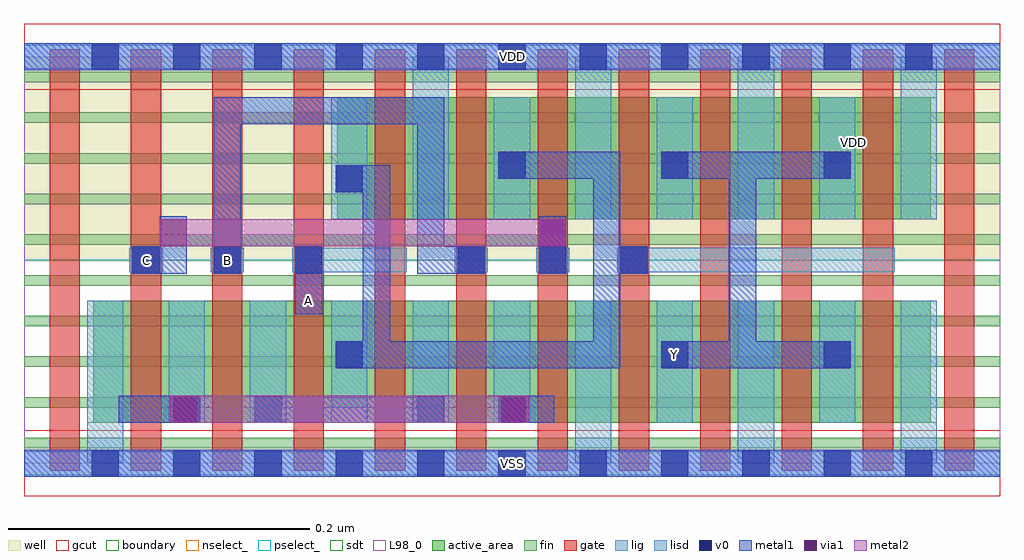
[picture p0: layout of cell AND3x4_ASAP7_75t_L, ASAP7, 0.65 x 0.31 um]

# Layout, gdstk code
import gdstk
lib = gdstk.Library(unit=1e-6, precision=2.5e-10)
def R(c, l, rs):  # rectangles x0, y0, x1, y1
    for r in rs: c.add(gdstk.rectangle(r[:2], r[2:], *l))
def A(c, l, x, y, w, h, nx, ny, dx, dy):  # array of equal rectangles
    R(c, l, [(x+i*dx, y+j*dy, x+i*dx+w, y+j*dy+h) for i in range(nx) for j in range(ny)])
def P(c, l, *ps):  # polygons
    for p in ps: c.add(gdstk.Polygon(p, *l))
well = (1, 0)
fin = (2, 0)
gate = (7, 0)
gcut = (10, 0)
active_area = (11, 0)
nselect_ = (12, 0)
pselect_ = (13, 0)
lig = (16, 0)
lisd = (17, 0)
v0 = (18, 0)
metal1 = (19, 0)
metal2 = (20, 0)
via1 = (21, 0)
sdt = (88, 0)
L98_0 = (98, 0)
boundary = (100, 0)

and3x4_asap7_75t_l = lib.new_cell('AND3x4_ASAP7_75t_L')
R(and3x4_asap7_75t_l, well, [(0,0.135,0.648,0.27)])
A(and3x4_asap7_75t_l, fin, 0, 0.01, 0.648, 0.007, 1, 10, 0, 0.027)
A(and3x4_asap7_75t_l, gate, 0.017, -0.005, 0.02, 0.28, 12, 1, 0.054, 0)
R(and3x4_asap7_75t_l, gcut, [(0,-0.022,0.648,0.022), (0,0.248,0.648,0.292)])
R(and3x4_asap7_75t_l, active_area, [(0.046,0.027,0.602,0.108), (0.208,0.162,0.602,0.243)])
R(and3x4_asap7_75t_l, nselect_, [(0,0,0.648,0.135)])
R(and3x4_asap7_75t_l, pselect_, [(0,0.135,0.648,0.27)])
R(and3x4_asap7_75t_l, lig, [(0,-0.008,0.648,0.008), (0.07,0.127,0.092,0.143), (0.124,0.127,0.146,0.143), (0.178,0.127,0.254,0.143), (0.286,0.127,0.308,0.143), (0.34,0.127,0.362,0.143), (0.394,0.127,0.578,0.143), (0,0.262,0.648,0.278)])
A(and3x4_asap7_75t_l, lisd, 0.366, 0, 0.024, 0.108, 3, 1, 0.108, 0)
A(and3x4_asap7_75t_l, lisd, 0.096, 0.027, 0.024, 0.081, 5, 1, 0.054, 0)
A(and3x4_asap7_75t_l, lisd, 0.204, 0.162, 0.024, 0.081, 4, 1, 0.108, 0)
A(and3x4_asap7_75t_l, lisd, 0.258, 0.162, 0.024, 0.108, 4, 1, 0.108, 0)
R(and3x4_asap7_75t_l, lisd, [(0.042,0,0.066,0.108), (0.42,0.027,0.444,0.108), (0.528,0.027,0.552,0.108)])
A(and3x4_asap7_75t_l, v0, 0.045, -0.009, 0.018, 0.018, 11, 2, 0.054, 0.27)
A(and3x4_asap7_75t_l, v0, 0.072, 0.126, 0.018, 0.018, 3, 1, 0.054, 0)
A(and3x4_asap7_75t_l, v0, 0.288, 0.126, 0.018, 0.018, 3, 1, 0.054, 0)
A(and3x4_asap7_75t_l, v0, 0.315, 0.189, 0.018, 0.018, 3, 1, 0.108, 0)
R(and3x4_asap7_75t_l, v0, [(0.099,0.027,0.117,0.045), (0.153,0.027,0.171,0.045), (0.261,0.027,0.279,0.045), (0.315,0.027,0.333,0.045), (0.207,0.063,0.225,0.081), (0.423,0.063,0.441,0.081), (0.531,0.063,0.549,0.081), (0.207,0.18,0.225,0.198)])
R(and3x4_asap7_75t_l, metal1, [(0,-0.009,0.648,0.009), (0.063,0.027,0.117,0.045), (0.153,0.027,0.279,0.045), (0.315,0.027,0.352,0.045), (0.18,0.099,0.198,0.144), (0.342,0.126,0.36,0.164), (0,0.261,0.648,0.279)])
P(and3x4_asap7_75t_l, metal1, [(0.423,0.063),(0.423,0.081),(0.468,0.081),(0.468,0.189),(0.423,0.189),(0.423,0.207),(0.549,0.207),(0.549,0.189),(0.486,0.189),(0.486,0.081),(0.549,0.081),(0.549,0.063)],
  [(0.126,0.126),(0.126,0.243),(0.279,0.243),(0.279,0.144),(0.306,0.144),(0.306,0.126),(0.261,0.126),(0.261,0.225),(0.144,0.225),(0.144,0.126)],
  [(0.207,0.063),(0.207,0.081),(0.225,0.081),(0.225,0.18),(0.207,0.18),(0.207,0.198),(0.243,0.198),(0.243,0.081),(0.378,0.081),(0.378,0.189),(0.315,0.189),(0.315,0.207),(0.396,0.207),(0.396,0.144),(0.414,0.144),(0.414,0.126),(0.396,0.126),(0.396,0.063)],
  [(0.072,0.126),(0.072,0.144),(0.09,0.144),(0.09,0.164),(0.108,0.164),(0.108,0.126)])
R(and3x4_asap7_75t_l, metal2, [(0.097,0.027,0.335,0.045), (0.09,0.144,0.36,0.162)])
R(and3x4_asap7_75t_l, via1, [(0.097,0.027,0.115,0.045), (0.317,0.027,0.335,0.045), (0.09,0.144,0.108,0.162), (0.342,0.144,0.36,0.162)])
A(and3x4_asap7_75t_l, sdt, 0.042, 0.027, 0.024, 0.081, 11, 1, 0.054, 0)
A(and3x4_asap7_75t_l, sdt, 0.204, 0.162, 0.024, 0.081, 8, 1, 0.054, 0)
R(and3x4_asap7_75t_l, L98_0, [(0,0,0.648,0.27)])
R(and3x4_asap7_75t_l, boundary, [(0,0,0.648,0.27)])
and3x4_asap7_75t_l.add(gdstk.Label('Y', (0.432,0.072), layer=19, texttype=251))
and3x4_asap7_75t_l.add(gdstk.Label('B', (0.135,0.135), layer=19, texttype=251))
and3x4_asap7_75t_l.add(gdstk.Label('C', (0.081,0.135), layer=19, texttype=251))
and3x4_asap7_75t_l.add(gdstk.Label('A', (0.189,0.108), layer=19, texttype=251))
and3x4_asap7_75t_l.add(gdstk.Label('VSS', (0.324,0), layer=19, texttype=251))
and3x4_asap7_75t_l.add(gdstk.Label('VDD', (0.324,0.27), layer=19, texttype=251))
and3x4_asap7_75t_l.add(gdstk.Label('VDD', (0.551,0.213), layer=1, texttype=251))
and3x4_asap7_75t_l.add(gdstk.Label('VSS', (0.745,0.213), layer=3, texttype=251))

lib.write_gds('AND3x4_ASAP7_75t_L.gds')
